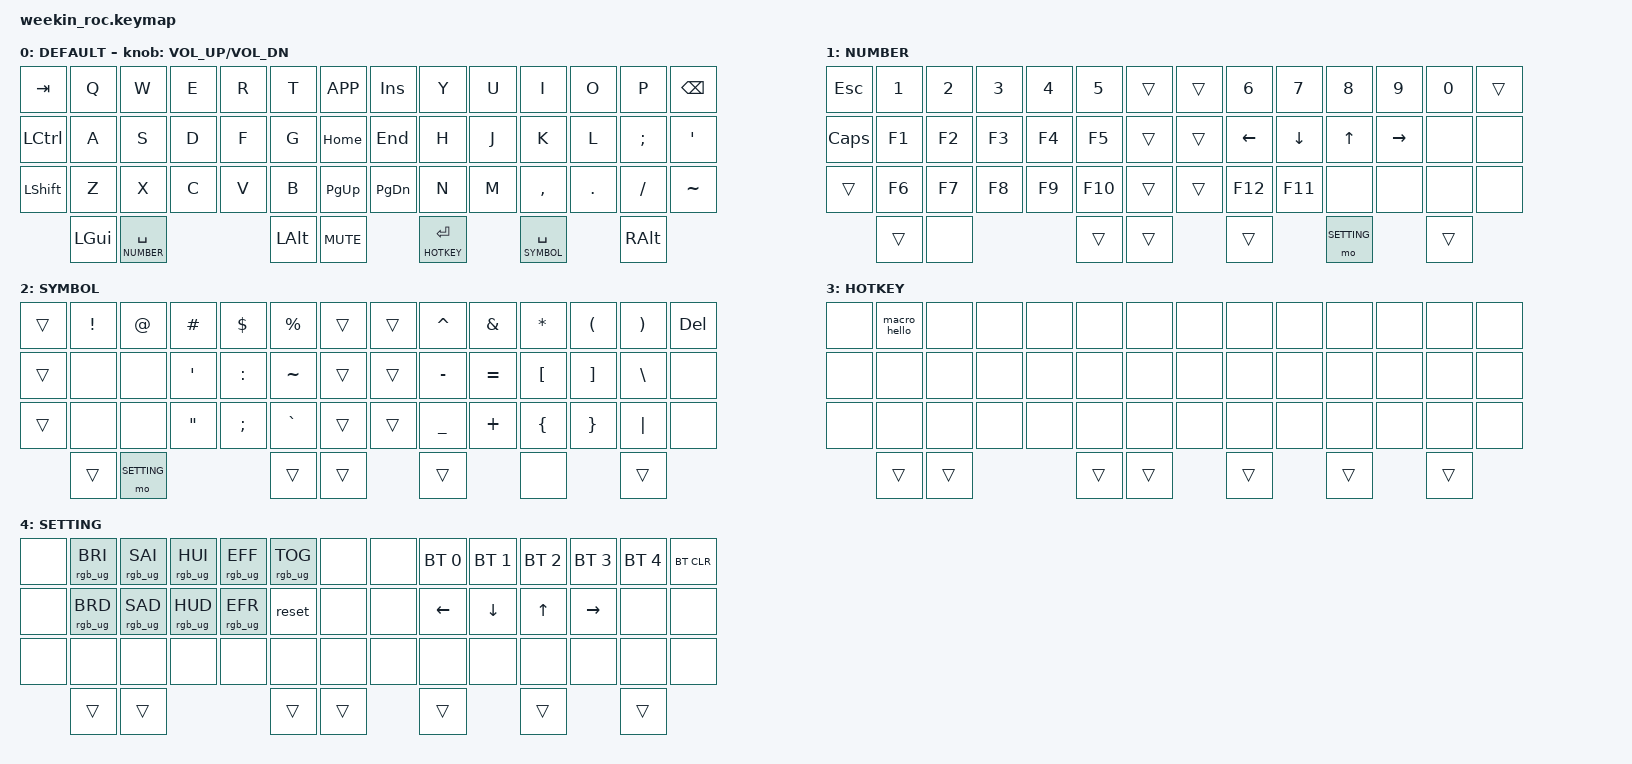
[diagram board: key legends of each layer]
/*
 * Copyright (c) 2022 The ZMK Contributors
 *
 * SPDX-License-Identifier: MIT
 */

#include <behaviors.dtsi>
#include <dt-bindings/zmk/keys.h>
#include <dt-bindings/zmk/bt.h>
#include <dt-bindings/zmk/rgb.h>

#define DEFAULT 0
#define NUMBER  1
#define SYMBOL  2
#define HOTKEY  3
#define SETTING 4

/ {
     macro {
         macro_hello: macro_hello {
             // hello
             compatible = "zmk,behavior-macro";
             label = "MACRO_HELLO";
             #binding-cells = <0>;
             bindings = <&kp H &kp E &kp L &kp L &kp O>;
         };
	 };

    keymap {
        compatible = "zmk,keymap";
// -------------------------------------------------------------------------------------
// |  TAB |  Q  |  W  |  E  |  R  |  T  | APP  |      | Ins  |  Y  |  U   |  I  |  O  |  P  | BKSP |
// | CTRL |  A  |  S  |  D  |  F  |  G  | HOME |      | END  |  H  |  J   |  K  |  L  |  ;  |  '   |
// | SHFT |  Z  |  X  |  C  |  V  |  B  | PGUP |      | PGDN |  N  |  M   |  ,  |  .  |  /  |   ~  |
//                         | WIN | NUM | ALT |          | ENT | SYM  | ALT | 
        default_layer {
            label = "DEFAULT";
            bindings = <
    &kp TAB    &kp Q  &kp W  &kp E  &kp R  &kp T &kp K_APP       &kp INS   &kp Y  &kp U  &kp I      &kp O    &kp P     &kp BSPC
    &kp LCTRL  &kp A  &kp S  &kp D  &kp F  &kp G &kp HOME        &kp END   &kp H  &kp J  &kp K      &kp L    &kp SEMI  &kp SQT
    &kp LSHFT  &kp Z  &kp X  &kp C  &kp V  &kp B &kp PG_UP       &kp PG_DN &kp N  &kp M  &kp COMMA  &kp DOT  &kp FSLH  &kp TILDE
            &kp LGUI  &lt NUMBER SPACE  &kp LALT        &kp C_MUTE         &lt HOTKEY RET   &lt SYMBOL SPACE  &kp RALT
            >;
            // 旋钮按键设置
            sensor-bindings = <&inc_dec_kp C_VOL_UP C_VOL_DN>;
        };

// --------------------------------------------------------------------------------
// | ESC |  1  |  2  |  3  |  4  |  5  |   |  6  |  7  |  8  |  9  |  0  | DEL |
// | CAPS| F1  | F2  | F3  | F4  | F5  |   |  ←  |  ↓  |  ↑  |  →  |     |     |
// |     | F6  | F7  | F8  | F9  | F10 |   | F12 | F11 |     |     |     |     |
//                       |     |     |     |  Set  |     |
        number_layer {
            label = "NUMBER";
            bindings = <
    &kp ESC   &kp N1    &kp N2    &kp N3    &kp N4    &kp N5  &trans        &trans &kp N6    &kp N7    &kp N8    &kp N9    &kp N0    &trans
    &kp CLCK  &kp F1    &kp F2    &kp F3    &kp F4    &kp F5  &trans        &trans &kp LEFT  &kp DOWN  &kp UP    &kp RIGHT &none     &none
    &trans    &kp F6    &kp F7    &kp F8    &kp F9    &kp F10 &trans        &trans &kp F12   &kp F11     &none     &none     &none     &none
                                &trans      &none       &trans       &trans          &trans      &mo SETTING      &trans
            >;
        };

// ----------------------------------------------------------------------------------
// | ESC |  !  |  @  |  #  |  $  |  %  |   |  ^  |  &  |  *  |  (  |  )  | DEL |
// |     |     |     |  "  |  :  |  ~  |   |  -  |  =  |  [  |  ]  |  \  |     |
// |     |     |     |  '  |  ;  |  `  |   |  _  |  +  |  {  |  }  | "|" |     |
//                       |     |  Set  |     |     |     |
        symbol_layer {
            label = "SYMBOL";
            bindings = <
    &trans &kp EXCL  &kp AT  &kp HASH &kp DLLR  &kp PRCNT &trans        &trans &kp CARET &kp AMPS  &kp STAR &kp LPAR &kp RPAR &kp DEL
    &trans &none     &none   &kp SQT  &kp COLON &kp TILDE &trans        &trans &kp MINUS &kp EQUAL &kp LBKT &kp RBKT &kp BSLH &none
    &trans &none     &none   &kp DQT  &kp SEMI  &kp GRAVE &trans        &trans &kp UNDER &kp PLUS  &kp LBRC &kp RBRC &kp PIPE &none
                            &trans    &mo SETTING  &trans        &trans      &trans &none &trans
            >;
        };

// -----------------------------------------------------------------------------------------
// |   |   |   |   |   |   |     |   |   |   |   |   |   |
// |   |   |   |   |   |   |     |   |   |   |   |   |   |
// |   |   |   |   |   |   |     |   |   |   |   |   |   |
//             |     |     |     |     |     |
        hotkey_layer {
            label = "HOTKEY";
            bindings = <
    &none &macro_hello &none &none &none &none &none        &none &none &none &none &none &none &none
    &none &none        &none &none &none &none &none        &none &none &none &none &none &none &none
    &none &none        &none &none &none &none &none        &none &none &none &none &none &none &none
                            &trans &trans &trans     &trans      &trans &trans &trans
            >;
        };

// -----------------------------------------------------------------------------------------
// |    | RGB BRI+ | RGB SAT+ | RGB HUE+ | RGB ANI+ | RGB TOG |   | BT1 | BT2 | BT3 | BT4 | BT5 | BT CLR |
// |    | RGB BRI- | RGB SAT- | RGB HUE- | RGB ANI- |         |   | LEFT| UP  | DOWN|RIGHT|     |        |
// |    |   CAPS   |          |          |  RESET   |         |   | HOME| END |     |     |     |        |
//                                              |     |     |     |     |     |
        setting_layer {
            label = "SETTING";
            bindings = <
    &none &rgb_ug RGB_BRI &rgb_ug RGB_SAI &rgb_ug RGB_HUI &rgb_ug RGB_EFF  &rgb_ug RGB_TOG &none        &none &bt BT_SEL 0 &bt BT_SEL 1 &bt BT_SEL 2 &bt BT_SEL 3 &bt BT_SEL 4 &bt BT_CLR
    &none &rgb_ug RGB_BRD &rgb_ug RGB_SAD &rgb_ug RGB_HUD &rgb_ug RGB_EFR  &reset          &none        &none &kp LEFT     &kp DOWN     &kp UP       &kp RIGHT    &none        &none
    &none &none           &none           &none           &none            &none           &none        &none &none        &none        &none        &none        &none        &none
                                                                    &trans &trans &trans         &trans       &trans &trans &trans
            >;
        };
    };
};

